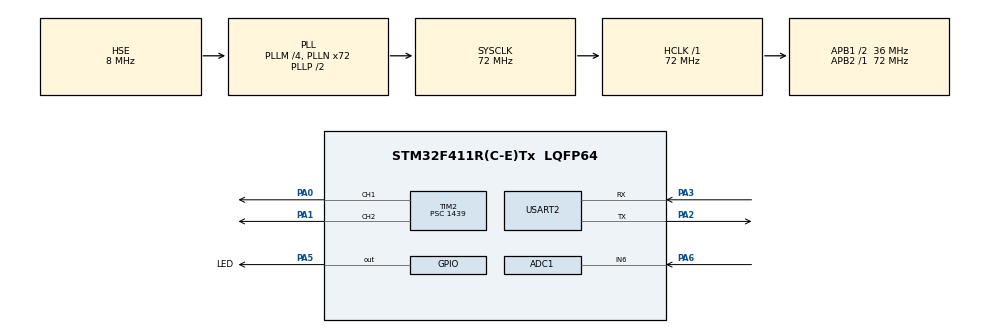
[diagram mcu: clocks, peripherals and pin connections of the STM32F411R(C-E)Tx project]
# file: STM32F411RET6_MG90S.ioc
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ADC1.Channel-0\#ChannelRegularConversion=ADC_CHANNEL_6
ADC1.ClockPrescaler=ADC_CLOCK_SYNC_PCLK_DIV4
ADC1.ContinuousConvMode=ENABLE
ADC1.DMAContinuousRequests=ENABLE
ADC1.InjNumberOfConversion=0
ADC1.NbrOfConversionFlag=1
ADC1.Rank-0\#ChannelRegularConversion=1
ADC1.SamplingTime-0\#ChannelRegularConversion=ADC_SAMPLETIME_480CYCLES
ADC1.ScanConvMode=ENABLE
ADC1.master=1
Dma.ADC1.0.Direction=DMA_PERIPH_TO_MEMORY
Dma.ADC1.0.FIFOMode=DMA_FIFOMODE_DISABLE
Dma.ADC1.0.Instance=DMA2_Stream0
Dma.ADC1.0.MemDataAlignment=DMA_MDATAALIGN_WORD
Dma.ADC1.0.MemInc=DMA_MINC_ENABLE
Dma.ADC1.0.Mode=DMA_CIRCULAR
Dma.ADC1.0.PeriphDataAlignment=DMA_PDATAALIGN_WORD
Dma.ADC1.0.PeriphInc=DMA_PINC_DISABLE
Dma.ADC1.0.Priority=DMA_PRIORITY_LOW
Dma.Request0=ADC1
Mcu.Family=STM32F4
Mcu.Name=STM32F411R(C-E)Tx
Mcu.Package=LQFP64
NVIC.DMA2_Stream0_IRQn=true\:0\:0\:false\:false\:true\:false\:true\:true
NVIC.PriorityGroup=NVIC_PRIORITYGROUP_4
NVIC.RCC_IRQn=true\:0\:0\:false\:false\:true\:true\:false\:true
NVIC.USART2_IRQn=true\:0\:0\:false\:false\:true\:true\:true\:true
PA0-WKUP.Signal=S_TIM2_CH1_ETR
PA1.Signal=S_TIM2_CH2
PA2.Mode=Asynchronous
PA2.Signal=USART2_TX
PA3.Mode=Asynchronous
PA3.Signal=USART2_RX
PA5.GPIO_Label=LED
PA5.Signal=GPIO_Output
PA6.Signal=ADCx_IN6
PH0\ -\ OSC_IN.Mode=HSE-External-Oscillator
PH0\ -\ OSC_IN.Signal=RCC_OSC_IN
PH1\ -\ OSC_OUT.Mode=HSE-External-Oscillator
PH1\ -\ OSC_OUT.Signal=RCC_OSC_OUT
ProjectManager.HeapSize=0x200
ProjectManager.StackSize=0x400
ProjectManager.TargetToolchain=STM32CubeIDE
RCC.48MHZClocksFreq_Value=36000000
RCC.AHBFreq_Value=72000000
RCC.APB1CLKDivider=RCC_HCLK_DIV2
RCC.APB1Freq_Value=36000000
RCC.APB1TimFreq_Value=72000000
RCC.APB2Freq_Value=72000000
RCC.APB2TimFreq_Value=72000000
RCC.CortexFreq_Value=72000000
RCC.HCLKFreq_Value=72000000
RCC.HSE_VALUE=8000000
RCC.HSI_VALUE=16000000
RCC.LSE_VALUE=32768
RCC.PLLM=4
RCC.PLLN=72
RCC.PLLSourceVirtual=RCC_PLLSOURCE_HSE
RCC.SYSCLKFreq_VALUE=72000000
RCC.SYSCLKSource=RCC_SYSCLKSOURCE_PLLCLK
RCC.VCOOutputFreq_Value=144000000
SH.ADCx_IN6.0=ADC1_IN6,IN6
SH.S_TIM2_CH1_ETR.0=TIM2_CH1,PWM Generation1 CH1
SH.S_TIM2_CH2.0=TIM2_CH2,PWM Generation2 CH2
TIM2.Channel-PWM\ Generation1\ CH1=TIM_CHANNEL_1
TIM2.Channel-PWM\ Generation2\ CH2=TIM_CHANNEL_2
TIM2.Period=999
TIM2.Prescaler=1439
TIM2.Pulse-PWM\ Generation1\ CH1=0
USART2.VirtualMode=VM_ASYNC
VP_TIM2_VS_ClockSourceINT.Mode=Internal
board=custom

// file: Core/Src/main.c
/* USER CODE BEGIN Header */
/**
 ******************************************************************************
 * @file           : main.c
 * @brief          : Main program body
 ******************************************************************************
 * @attention
 *
 * Copyright (c) 2024 STMicroelectronics.
 * All rights reserved.
 *
 * This software is licensed under terms that can be found in the LICENSE file
 * in the root directory of this software component.
 * If no LICENSE file comes with this software, it is provided AS-IS.
 *
 ******************************************************************************
 */
/* USER CODE END Header */
#include "main.h"

/* USER CODE BEGIN Includes */
#define PLATFORM_STM32_HAL
#include <xuart.h>
#include <delay.h>
#include <motor/MG90S.h>
/* USER CODE END Includes */

ADC_HandleTypeDef hadc1;
DMA_HandleTypeDef hdma_adc1;

TIM_HandleTypeDef htim2;

UART_HandleTypeDef huart2;

/* USER CODE BEGIN PV */
UARTLogger logger(&huart2);

/* USER CODE END PV */

void SystemClock_Config(void);
static void MX_GPIO_Init(void);
static void MX_DMA_Init(void);
static void MX_TIM2_Init(void);
static void MX_USART2_UART_Init(void);
static void MX_ADC1_Init(void);

int main(void)
{

  /* MCU Configuration--------------------------------------------------------*/

  /* Reset of all peripherals, Initializes the Flash interface and the Systick. */
  HAL_Init();

  /* Configure the system clock */
  SystemClock_Config();

  /* Initialize all configured peripherals */
  MX_GPIO_Init();
  MX_DMA_Init();
  MX_TIM2_Init();
  MX_USART2_UART_Init();
  MX_ADC1_Init();
  /* USER CODE BEGIN 2 */

    HAL_TIM_PWM_Start(&htim2, TIM_CHANNEL_1);

    //int compareValue = 50; // Set CompaRevalue to 50, 150, 250, respectively, 0 °, 90 °, 180 °, respectively

    //__HAL_TIM_SET_COMPARE(&htim2, TIM_CHANNEL_1, compareValue); // Output PWM signal

    uint32_t vr[2];
    HAL_ADC_Start_DMA(&hadc1, vr, 2);
    while (true) {
        uint32_t x = vr[0];
        logger.writeLine("adc=%u", x);
        htim2.Instance->CCR1 = 75 + 25 * x / 4096;
        HAL_Delay(100);
    }
#if 0
    // 3.3В, значение CCR1  оборотов/10 сек
//    25  15,3
//    30  15,3
//    35  15,3
//    40  13
//    45  12,3
//    50  10,7
//    55  9
//    60  7,3
//    65  5,5
//    70  3,8

    // 25 - 75 - CW
    // 75 - стоп
    // 75 - 125 - CCW
    // краевые значения:
    // 35 - 2825/10
    // 73 - 1035/10, т.е. не ниже 103 град./сек
    // e=12.6
    int cwMax = 35;
    int center = 73;
    int ccwMax = 125;
    int delta = center - cwMax;
    // w = 1 об/с
    float maxSpeed = 5825.0 / 10; // в градусах в секунду при 3.3 В.
    float minSpeed = 1035.0 / 10; // минимальная скорость
    float deltaW = maxSpeed - minSpeed;
    // пусть требуется 180*/сек.
    float curSpeed = 120; // но не ниже минимальной
    float partSpeed = (curSpeed - minSpeed) / deltaW;
    logger.writeLine("partSpeed=%d.%02d", (int)partSpeed, (int)(partSpeed * 100));
    int cval = center - (1.0 * delta * partSpeed);
    logger.writeLine("cval=%d", cval);

    int degreesToRotate = 1.0 * 360; // повернём на n об.,
    int timeMsToRotate = 1000 * degreesToRotate / curSpeed; // ms
    uint32_t t1 = Delay::millis();
    htim2.Instance->CCR1 = cval;
    logger.writeLine("time=%d", timeMsToRotate);
#else
    for (int i = 75; i <= 130; i += 1) {
        logger.writeLine("%d", i);
        htim2.Instance->CCR1 = i;
        HAL_Delay(5000);
        //htim2.Instance->CCR1 = 0;
        //HAL_Delay(1000);
    }
    while(1);
#endif
    MG90S360 mg1(35, 73, 75, 77, 114, 103.5, 582.5, 107, 550.5);
    float degToRotate1 = 190;
    uint32_t t1 = 0;
    uint32_t timeMsToRotate = 0;
    float degreesPerSecond1 = 120;
    bool cw1 = true;
    uint32_t ccrValue;
  /* USER CODE END 2 */

  /* Infinite loop */
    while (1) {

    /* USER CODE BEGIN 3 */
        if (Delay::exceeded(t1, timeMsToRotate)) {
            cw1 = !cw1;
            if (cw1) {
                mg1.getRotateTimeCW(degreesPerSecond1, degToRotate1, timeMsToRotate, ccrValue);
            } else {
                mg1.getRotateTimeCCW(degreesPerSecond1, degToRotate1, timeMsToRotate, ccrValue);
            }
            logger.writeLine("%u, %u", timeMsToRotate, ccrValue);
            t1 = Delay::millis();
            htim2.Instance->CCR1 = ccrValue;
        }
    }
  /* USER CODE END 3 */
}

void SystemClock_Config(void)
{
  RCC_OscInitTypeDef RCC_OscInitStruct = {0};
  RCC_ClkInitTypeDef RCC_ClkInitStruct = {0};

  /** Configure the main internal regulator output voltage
  */
  __HAL_RCC_PWR_CLK_ENABLE();
  __HAL_PWR_VOLTAGESCALING_CONFIG(PWR_REGULATOR_VOLTAGE_SCALE1);

  /** Initializes the RCC Oscillators according to the specified parameters
  * in the RCC_OscInitTypeDef structure.
  */
  RCC_OscInitStruct.OscillatorType = RCC_OSCILLATORTYPE_HSE;
  RCC_OscInitStruct.HSEState = RCC_HSE_ON;
  RCC_OscInitStruct.PLL.PLLState = RCC_PLL_ON;
  RCC_OscInitStruct.PLL.PLLSource = RCC_PLLSOURCE_HSE;
  RCC_OscInitStruct.PLL.PLLM = 4;
  RCC_OscInitStruct.PLL.PLLN = 72;
  RCC_OscInitStruct.PLL.PLLP = RCC_PLLP_DIV2;
  RCC_OscInitStruct.PLL.PLLQ = 4;
  if (HAL_RCC_OscConfig(&RCC_OscInitStruct) != HAL_OK)
  {
    Error_Handler();
  }

  /** Initializes the CPU, AHB and APB buses clocks
  */
  RCC_ClkInitStruct.ClockType = RCC_CLOCKTYPE_HCLK|RCC_CLOCKTYPE_SYSCLK
                              |RCC_CLOCKTYPE_PCLK1|RCC_CLOCKTYPE_PCLK2;
  RCC_ClkInitStruct.SYSCLKSource = RCC_SYSCLKSOURCE_PLLCLK;
  RCC_ClkInitStruct.AHBCLKDivider = RCC_SYSCLK_DIV1;
  RCC_ClkInitStruct.APB1CLKDivider = RCC_HCLK_DIV2;
  RCC_ClkInitStruct.APB2CLKDivider = RCC_HCLK_DIV1;

  if (HAL_RCC_ClockConfig(&RCC_ClkInitStruct, FLASH_LATENCY_2) != HAL_OK)
  {
    Error_Handler();
  }
}

static void MX_ADC1_Init(void)
{

  ADC_ChannelConfTypeDef sConfig = {0};

  /** Configure the global features of the ADC (Clock, Resolution, Data Alignment and number of conversion)
  */
  hadc1.Instance = ADC1;
  hadc1.Init.ClockPrescaler = ADC_CLOCK_SYNC_PCLK_DIV4;
  hadc1.Init.Resolution = ADC_RESOLUTION_12B;
  hadc1.Init.ScanConvMode = ENABLE;
  hadc1.Init.ContinuousConvMode = ENABLE;
  hadc1.Init.DiscontinuousConvMode = DISABLE;
  hadc1.Init.ExternalTrigConvEdge = ADC_EXTERNALTRIGCONVEDGE_NONE;
  hadc1.Init.ExternalTrigConv = ADC_SOFTWARE_START;
  hadc1.Init.DataAlign = ADC_DATAALIGN_RIGHT;
  hadc1.Init.NbrOfConversion = 1;
  hadc1.Init.DMAContinuousRequests = ENABLE;
  hadc1.Init.EOCSelection = ADC_EOC_SINGLE_CONV;
  if (HAL_ADC_Init(&hadc1) != HAL_OK)
  {
    Error_Handler();
  }

  /** Configure for the selected ADC regular channel its corresponding rank in the sequencer and its sample time.
  */
  sConfig.Channel = ADC_CHANNEL_6;
  sConfig.Rank = 1;
  sConfig.SamplingTime = ADC_SAMPLETIME_480CYCLES;
  if (HAL_ADC_ConfigChannel(&hadc1, &sConfig) != HAL_OK)
  {
    Error_Handler();
  }

}

static void MX_TIM2_Init(void)
{

  TIM_ClockConfigTypeDef sClockSourceConfig = {0};
  TIM_MasterConfigTypeDef sMasterConfig = {0};
  TIM_OC_InitTypeDef sConfigOC = {0};

  htim2.Instance = TIM2;
  htim2.Init.Prescaler = 1439;
  htim2.Init.CounterMode = TIM_COUNTERMODE_UP;
  htim2.Init.Period = 999;
  htim2.Init.ClockDivision = TIM_CLOCKDIVISION_DIV1;
  htim2.Init.AutoReloadPreload = TIM_AUTORELOAD_PRELOAD_DISABLE;
  if (HAL_TIM_Base_Init(&htim2) != HAL_OK)
  {
    Error_Handler();
  }
  sClockSourceConfig.ClockSource = TIM_CLOCKSOURCE_INTERNAL;
  if (HAL_TIM_ConfigClockSource(&htim2, &sClockSourceConfig) != HAL_OK)
  {
    Error_Handler();
  }
  if (HAL_TIM_PWM_Init(&htim2) != HAL_OK)
  {
    Error_Handler();
  }
  sMasterConfig.MasterOutputTrigger = TIM_TRGO_RESET;
  sMasterConfig.MasterSlaveMode = TIM_MASTERSLAVEMODE_DISABLE;
  if (HAL_TIMEx_MasterConfigSynchronization(&htim2, &sMasterConfig) != HAL_OK)
  {
    Error_Handler();
  }
  sConfigOC.OCMode = TIM_OCMODE_PWM1;
  sConfigOC.Pulse = 0;
  sConfigOC.OCPolarity = TIM_OCPOLARITY_HIGH;
  sConfigOC.OCFastMode = TIM_OCFAST_DISABLE;
  if (HAL_TIM_PWM_ConfigChannel(&htim2, &sConfigOC, TIM_CHANNEL_1) != HAL_OK)
  {
    Error_Handler();
  }
  if (HAL_TIM_PWM_ConfigChannel(&htim2, &sConfigOC, TIM_CHANNEL_2) != HAL_OK)
  {
    Error_Handler();
  }
  HAL_TIM_MspPostInit(&htim2);

}

static void MX_USART2_UART_Init(void)
{

  huart2.Instance = USART2;
  huart2.Init.BaudRate = 115200;
  huart2.Init.WordLength = UART_WORDLENGTH_8B;
  huart2.Init.StopBits = UART_STOPBITS_1;
  huart2.Init.Parity = UART_PARITY_NONE;
  huart2.Init.Mode = UART_MODE_TX_RX;
  huart2.Init.HwFlowCtl = UART_HWCONTROL_NONE;
  huart2.Init.OverSampling = UART_OVERSAMPLING_16;
  if (HAL_UART_Init(&huart2) != HAL_OK)
  {
    Error_Handler();
  }

}

static void MX_DMA_Init(void)
{

  /* DMA controller clock enable */
  __HAL_RCC_DMA2_CLK_ENABLE();

  /* DMA interrupt init */
  /* DMA2_Stream0_IRQn interrupt configuration */
  HAL_NVIC_SetPriority(DMA2_Stream0_IRQn, 0, 0);
  HAL_NVIC_EnableIRQ(DMA2_Stream0_IRQn);

}

static void MX_GPIO_Init(void)
{
  GPIO_InitTypeDef GPIO_InitStruct = {0};

  /* GPIO Ports Clock Enable */
  __HAL_RCC_GPIOH_CLK_ENABLE();
  __HAL_RCC_GPIOA_CLK_ENABLE();

  /*Configure GPIO pin Output Level */
  HAL_GPIO_WritePin(LED_GPIO_Port, LED_Pin, GPIO_PIN_RESET);

  /*Configure GPIO pin : LED_Pin */
  GPIO_InitStruct.Pin = LED_Pin;
  GPIO_InitStruct.Mode = GPIO_MODE_OUTPUT_PP;
  GPIO_InitStruct.Pull = GPIO_NOPULL;
  GPIO_InitStruct.Speed = GPIO_SPEED_FREQ_LOW;
  HAL_GPIO_Init(LED_GPIO_Port, &GPIO_InitStruct);

}

void Error_Handler(void)
{
    __disable_irq();
    while (1) {
    }
}
